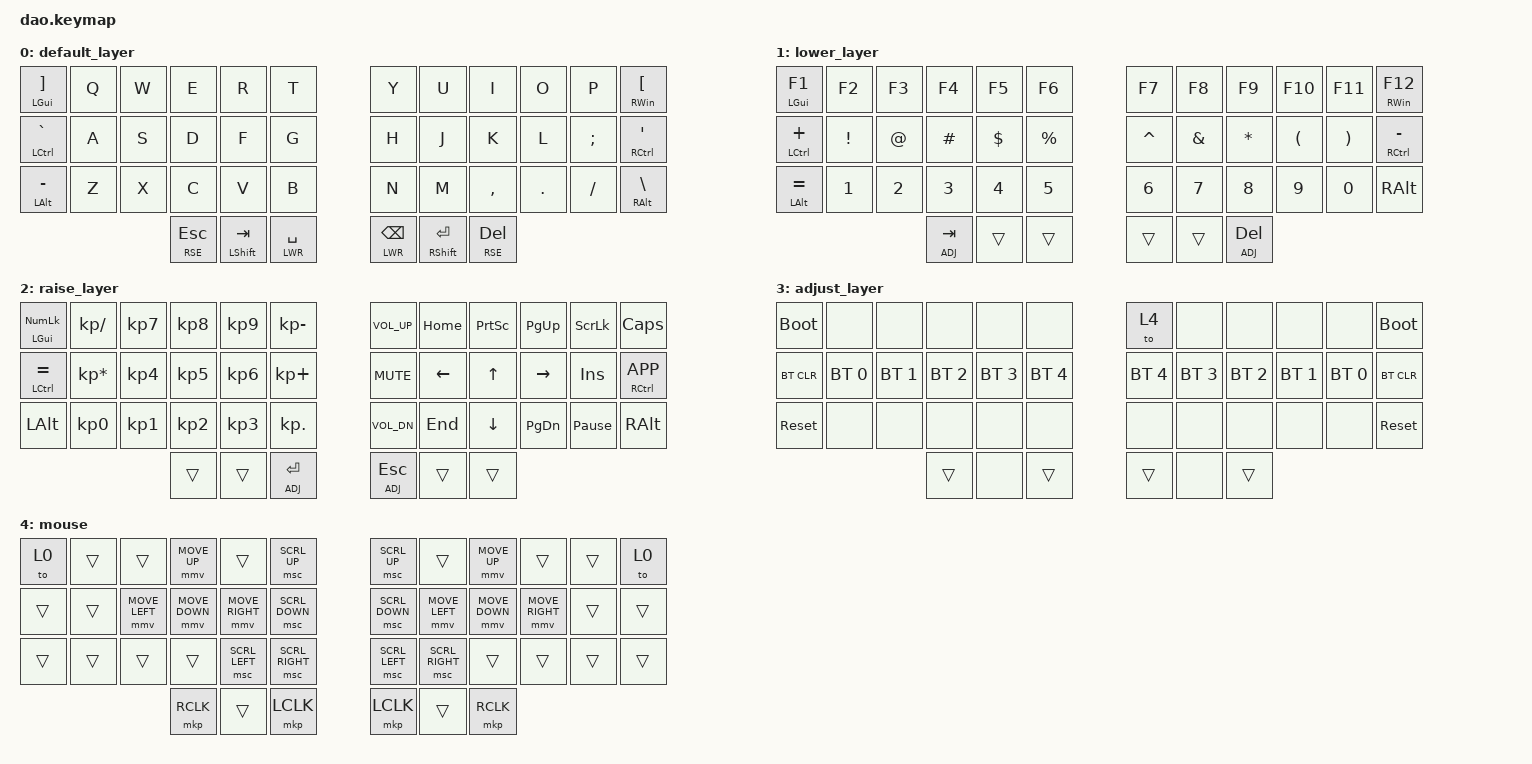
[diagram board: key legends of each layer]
/*
 * Copyright (c) 2021 Rafael Yumagulov
 *
 * SPDX-License-Identifier: MIT
 */

#include <behaviors.dtsi>
#include <dt-bindings/zmk/bt.h>
#include <dt-bindings/zmk/keys.h>
#include <dt-bindings/zmk/mouse.h>
/* #include <behaviors/mouse_keys.dtsi> */

#define DEF 0
#define LWR 1
#define RSE 2
#define ADJ 3


&lt { quick_tap_ms = <200>; };

&mt { quick_tap_ms = <200>; };

/ {
    chosen {
        zmk,matrix_transform = &default_transform;

        // zmk,matrix_transform = &extra_keys_transform;
    };
};

/ {
    keymap {
        compatible = "zmk,keymap";

        default_layer {
            bindings = <
&mt LGUI RBKT    &kp Q  &kp W  &kp E        &kp R          &kp T          &kp Y              &kp U            &kp I        &kp O    &kp P     &mt RIGHT_WIN LBKT
&mt LCTRL GRAVE  &kp A  &kp S  &kp D        &kp F          &kp G          &kp H              &kp J            &kp K        &kp L    &kp SEMI  &mt RCTRL SQT
&mt LALT MINUS   &kp Z  &kp X  &kp C        &kp V          &kp B          &kp N              &kp M            &kp COMMA    &kp DOT  &kp FSLH  &mt RALT BSLH
                               &lt RSE ESC  &mt LSHFT TAB  &lt LWR SPACE  &lt LWR BACKSPACE  &mt RSHFT ENTER  &lt RSE DEL
            >;
        };

        lower_layer {
            bindings = <
&mt LGUI F1     &kp F2    &kp F3  &kp F4       &kp F5    &kp F6     &kp F7     &kp F8    &kp F9       &kp F10   &kp F11   &mt RIGHT_WIN F12
&mt LCTRL PLUS  &kp EXCL  &kp AT  &kp HASH     &kp DLLR  &kp PRCNT  &kp CARET  &kp AMPS  &kp STAR     &kp LPAR  &kp RPAR  &mt RCTRL MINUS
&mt LALT EQUAL  &kp N1    &kp N2  &kp N3       &kp N4    &kp N5     &kp N6     &kp N7    &kp N8       &kp N9    &kp N0    &kp RALT
                                  &lt ADJ TAB  &trans    &trans     &trans     &trans    &lt ADJ DEL
            >;
        };

        raise_layer {
            bindings = <
&mt LGUI KP_NUM  &kp KP_SLASH     &kp KP_N7  &kp KP_N8  &kp KP_N9  &kp KP_MINUS  &kp C_VOL_UP  &kp HOME  &kp PSCRN  &kp PG_UP  &kp SLCK         &kp CLCK
&mt LCTRL EQUAL  &kp KP_MULTIPLY  &kp KP_N4  &kp KP_N5  &kp KP_N6  &kp KP_PLUS   &kp C_MUTE    &kp LEFT  &kp UP     &kp RIGHT  &kp INS          &mt RCTRL K_APP
&kp LALT         &kp KP_N0        &kp KP_N1  &kp KP_N2  &kp KP_N3  &kp KP_DOT    &kp C_VOL_DN  &kp END   &kp DOWN   &kp PG_DN  &kp PAUSE_BREAK  &kp RALT
                                             &trans     &trans     &lt ADJ RET   &lt ADJ ESC   &trans    &trans
            >;
        };

        adjust_layer {
            bindings = <
&bootloader  &none         &none         &none         &none         &none         &to 4         &none         &none         &none         &none         &bootloader
&bt BT_CLR   &bt BT_SEL 0  &bt BT_SEL 1  &bt BT_SEL 2  &bt BT_SEL 3  &bt BT_SEL 4  &bt BT_SEL 4  &bt BT_SEL 3  &bt BT_SEL 2  &bt BT_SEL 1  &bt BT_SEL 0  &bt BT_CLR
&sys_reset   &none         &none         &none         &none         &none         &none         &none         &none         &none         &none         &sys_reset
                                         &trans        &none         &trans        &trans        &none         &trans
            >;
        };

        mouse {
            bindings = <
&to 0   &trans  &trans          &mmv MOVE_UP    &trans             &msc SCRL_UP       &msc SCRL_UP     &trans              &mmv MOVE_UP     &trans           &trans  &to 0
&trans  &trans  &mmv MOVE_LEFT  &mmv MOVE_DOWN  &mmv MOVE_RIGHT    &msc SCRL_DOWN     &msc SCRL_DOWN   &mmv MOVE_LEFT      &mmv MOVE_DOWN   &mmv MOVE_RIGHT  &trans  &trans
&trans  &trans  &trans          &trans          &msc SCRL_LEFT     &msc SCRL_RIGHT    &msc SCRL_LEFT   &msc SCRL_RIGHT     &trans           &trans           &trans  &trans
                                &mkp RCLK       &trans             &mkp LCLK          &mkp LCLK        &trans              &mkp RCLK
            >;
        };
    };
};
